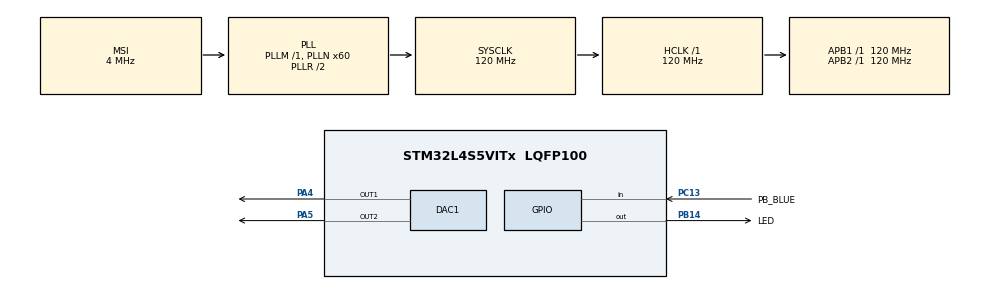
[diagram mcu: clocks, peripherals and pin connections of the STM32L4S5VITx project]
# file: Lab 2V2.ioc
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ADC1.Channel-0\#ChannelRegularConversion=ADC_CHANNEL_VREFINT
ADC1.Channel-1\#ChannelRegularConversion=ADC_CHANNEL_TEMPSENSOR
ADC1.DiscontinuousConvMode=ENABLE
ADC1.NbrOfConversion=2
ADC1.NbrOfConversionFlag=1
ADC1.OffsetNumber-0\#ChannelRegularConversion=ADC_OFFSET_NONE
ADC1.OffsetNumber-1\#ChannelRegularConversion=ADC_OFFSET_NONE
ADC1.Rank-0\#ChannelRegularConversion=1
ADC1.Rank-1\#ChannelRegularConversion=2
ADC1.SamplingTime-0\#ChannelRegularConversion=ADC_SAMPLETIME_2CYCLES_5
ADC1.SamplingTime-1\#ChannelRegularConversion=ADC_SAMPLETIME_2CYCLES_5
ADC1.master=1
DAC1.DAC_Channel-DAC_OUT2=DAC_CHANNEL_2
DAC1.DAC_SampleAndHold-DAC_OUT2=DAC_SAMPLEANDHOLD_DISABLE
Mcu.Family=STM32L4
Mcu.Name=STM32L4S5VITx
Mcu.Package=LQFP100
NVIC.PriorityGroup=NVIC_PRIORITYGROUP_4
PA4.Signal=COMP_DAC11_group
PA5.Signal=COMP_DAC12_group
PB14.GPIO_Label=LED
PB14.Signal=GPIO_Output
PB3\ (JTDO/TRACESWO).Signal=SYS_JTDO-SWO
PC13.GPIO_Label=PB_BLUE
PC13.Signal=GPIO_Input
ProjectManager.HeapSize=0x200
ProjectManager.StackSize=0x400
ProjectManager.TargetToolchain=STM32CubeIDE
RCC.ADCFreq_Value=32000000
RCC.AHBFreq_Value=120000000
RCC.APB1Freq_Value=120000000
RCC.APB1TimFreq_Value=120000000
RCC.APB2Freq_Value=120000000
RCC.APB2TimFreq_Value=120000000
RCC.CortexFreq_Value=120000000
RCC.HCLKFreq_Value=120000000
RCC.HSE_VALUE=8000000
RCC.HSI48_VALUE=48000000
RCC.HSI_VALUE=16000000
RCC.LSE_VALUE=32768
RCC.MSI_VALUE=4000000
RCC.PLLN=60
RCC.PLLSAI1N=16
RCC.SYSCLKFreq_VALUE=120000000
RCC.SYSCLKSource=RCC_SYSCLKSOURCE_PLLCLK
RCC.USBFreq_Value=32000000
RCC.VCOOutputFreq_Value=240000000
SH.COMP_DAC11_group.0=DAC1_OUT1,DAC_OUT1
SH.COMP_DAC12_group.0=DAC1_OUT2,DAC_OUT2
VP_ADC1_TempSens_Input.Mode=IN-TempSens
VP_ADC1_Vref_Input.Mode=IN-Vrefint
board=custom

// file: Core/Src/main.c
/* USER CODE BEGIN Header */
/**
  ******************************************************************************
  * @file           : main.c
  * @brief          : Main program body
  ******************************************************************************
  * @attention
  *
  * Copyright (c) 2023 STMicroelectronics.
  * All rights reserved.
  *
  * This software is licensed under terms that can be found in the LICENSE file
  * in the root directory of this software component.
  * If no LICENSE file comes with this software, it is provided AS-IS.
  *
  ******************************************************************************
  */
/* USER CODE END Header */
#include "main.h"

/* USER CODE BEGIN Includes */
#define ARM_MATH_CM4
#include "arm_math.h"
/* USER CODE END Includes */

/* USER CODE BEGIN PD */
#define pi 3.14
/* USER CODE END PD */

ADC_HandleTypeDef hadc1;

DAC_HandleTypeDef hdac1;

void SystemClock_Config(void);
static void MX_GPIO_Init(void);
static void MX_DAC1_Init(void);
static void MX_ADC1_Init(void);
/* USER CODE BEGIN PFP */
int16_t get_temp_c();
float32_t get_vref();
/* USER CODE END PFP */

/* USER CODE BEGIN 0 */
// setup ADC
ADC_ChannelConfTypeDef channel_config_vref = {
	  	  .Channel = ADC_CHANNEL_VREFINT,
		  .Rank = ADC_REGULAR_RANK_1,
		  .SamplingTime = ADC_SAMPLETIME_640CYCLES_5,
		  .SingleDiff = ADC_SINGLE_ENDED,
		  .OffsetNumber = ADC_OFFSET_NONE,
		  .Offset = 0
};

ADC_ChannelConfTypeDef channel_config_temp = {
	  	  .Channel = ADC_CHANNEL_TEMPSENSOR,
		  .Rank = ADC_REGULAR_RANK_1,
		  .SamplingTime = ADC_SAMPLETIME_640CYCLES_5,
		  .SingleDiff = ADC_SINGLE_ENDED,
		  .OffsetNumber = ADC_OFFSET_NONE,
		  .Offset = 0
};

// get TS_CAL1 and TS_CAL2 from memory addresses
const int *p_TS_CAL1 = (int *)0x1FFF75A8;
const int16_t TS_CAL1_TEMP = 30;
const int *p_TS_CAL2 = (int *)0x1FFF75CA;
const int16_t TS_CAL2_TEMP = 110;
// get vrefint
const int *p_VREFINT = (int *) 0x1FFF75AA;
/* USER CODE END 0 */

int main(void)
{

  /* MCU Configuration--------------------------------------------------------*/

  /* Reset of all peripherals, Initializes the Flash interface and the Systick. */
  HAL_Init();

  /* Configure the system clock */
  SystemClock_Config();

  /* Initialize all configured peripherals */
  MX_GPIO_Init();
  MX_DAC1_Init();
  MX_ADC1_Init();
  /* USER CODE BEGIN 2 */
  // init variables
  uint16_t waveForm = 0;
  uint16_t temp;
  int8_t iterator = 0;
  int8_t lightState = 0;
  int8_t waveSetting = 0;
  const int8_t TEMP_RANGE_MAX = 50;
  const int8_t TEMP_RANGE_MIN = 20;
  const int8_t DELAY_RANGE_MAX = 20;
  const int8_t DELAY_RANGE_MIN = 0;
  float32_t TEMP_TO_DELAY_SLOPE =(float)(DELAY_RANGE_MAX - DELAY_RANGE_MIN)/(TEMP_RANGE_MAX - TEMP_RANGE_MIN);
  float32_t TEMP_TO_DELAY_INTERCEPT = DELAY_RANGE_MIN - TEMP_TO_DELAY_SLOPE*TEMP_RANGE_MIN;
  int8_t delay = 0;
  // start DAC
  HAL_DAC_Start(&hdac1, DAC_CHANNEL_1);
  /* USER CODE END 2 */

  /* Infinite loop */
  /* USER CODE BEGIN WHILE */
  while (1)
  {
	  GPIO_PinState pinState = HAL_GPIO_ReadPin(PB_BLUE_GPIO_Port, PB_BLUE_Pin);
	           if (pinState == GPIO_PIN_RESET) {
	        	   if (lightState == 0) {
						HAL_GPIO_WritePin(LED_GPIO_Port, LED_Pin, GPIO_PIN_SET);
						//Switches to waves via temperature
						lightState=1;
	        	   } else {
		                HAL_GPIO_WritePin(LED_GPIO_Port, LED_Pin, GPIO_PIN_RESET);
		                //Resets to fixed waves and rotates to next type
		                lightState=0;
		                iterator=0;
		                waveSetting = (waveSetting+1)%3;
	        	   }
	        	   // loop to trap us here until PB is let go
	        	   while (1) {
	        		   pinState = HAL_GPIO_ReadPin(PB_BLUE_GPIO_Port, PB_BLUE_Pin);
	        		   if (pinState == GPIO_PIN_SET)
	        			   break;
	        	   }
	            }
               //Sawtooth
       	   	   if (waveSetting == 0){
                   waveForm = 16*iterator;
               }
               //Triangle
               else if (waveSetting == 1){
                    if (iterator<7){
                           waveForm = 32*iterator;
                    } else{
                           waveForm = 32*(14-iterator);
                    }
               }
               //Sine
               else if (waveSetting == 2){
                   waveForm = 128*arm_sin_f32((pi*iterator) / 7) + 128;
               }

       	   	   if (lightState == 1) {
       	   		   temp = get_temp_c();
	               delay = round(temp*TEMP_TO_DELAY_SLOPE + TEMP_TO_DELAY_INTERCEPT);
       	   	   } else {
       	   		   delay = DELAY_RANGE_MIN;
       	   	   }

	      iterator = (iterator+1)%14;
	      HAL_DAC_SetValue(&hdac1, DAC_CHANNEL_1, DAC_ALIGN_8B_R, waveForm);
	      HAL_Delay(delay);

  }
    /* USER CODE END WHILE */
}

void SystemClock_Config(void)
{
  RCC_OscInitTypeDef RCC_OscInitStruct = {0};
  RCC_ClkInitTypeDef RCC_ClkInitStruct = {0};

  /** Configure the main internal regulator output voltage
  */
  if (HAL_PWREx_ControlVoltageScaling(PWR_REGULATOR_VOLTAGE_SCALE1_BOOST) != HAL_OK)
  {
    Error_Handler();
  }

  /** Initializes the RCC Oscillators according to the specified parameters
  * in the RCC_OscInitTypeDef structure.
  */
  RCC_OscInitStruct.OscillatorType = RCC_OSCILLATORTYPE_MSI;
  RCC_OscInitStruct.MSIState = RCC_MSI_ON;
  RCC_OscInitStruct.MSICalibrationValue = 0;
  RCC_OscInitStruct.MSIClockRange = RCC_MSIRANGE_6;
  RCC_OscInitStruct.PLL.PLLState = RCC_PLL_ON;
  RCC_OscInitStruct.PLL.PLLSource = RCC_PLLSOURCE_MSI;
  RCC_OscInitStruct.PLL.PLLM = 1;
  RCC_OscInitStruct.PLL.PLLN = 60;
  RCC_OscInitStruct.PLL.PLLP = RCC_PLLP_DIV2;
  RCC_OscInitStruct.PLL.PLLQ = RCC_PLLQ_DIV2;
  RCC_OscInitStruct.PLL.PLLR = RCC_PLLR_DIV2;
  if (HAL_RCC_OscConfig(&RCC_OscInitStruct) != HAL_OK)
  {
    Error_Handler();
  }

  /** Initializes the CPU, AHB and APB buses clocks
  */
  RCC_ClkInitStruct.ClockType = RCC_CLOCKTYPE_HCLK|RCC_CLOCKTYPE_SYSCLK
                              |RCC_CLOCKTYPE_PCLK1|RCC_CLOCKTYPE_PCLK2;
  RCC_ClkInitStruct.SYSCLKSource = RCC_SYSCLKSOURCE_PLLCLK;
  RCC_ClkInitStruct.AHBCLKDivider = RCC_SYSCLK_DIV1;
  RCC_ClkInitStruct.APB1CLKDivider = RCC_HCLK_DIV1;
  RCC_ClkInitStruct.APB2CLKDivider = RCC_HCLK_DIV1;

  if (HAL_RCC_ClockConfig(&RCC_ClkInitStruct, FLASH_LATENCY_5) != HAL_OK)
  {
    Error_Handler();
  }
}

static void MX_ADC1_Init(void)
{

  ADC_ChannelConfTypeDef sConfig = {0};

  /** Common config
  */
  hadc1.Instance = ADC1;
  hadc1.Init.ClockPrescaler = ADC_CLOCK_ASYNC_DIV1;
  hadc1.Init.Resolution = ADC_RESOLUTION_12B;
  hadc1.Init.DataAlign = ADC_DATAALIGN_RIGHT;
  hadc1.Init.ScanConvMode = ADC_SCAN_ENABLE;
  hadc1.Init.EOCSelection = ADC_EOC_SINGLE_CONV;
  hadc1.Init.LowPowerAutoWait = DISABLE;
  hadc1.Init.ContinuousConvMode = DISABLE;
  hadc1.Init.NbrOfConversion = 2;
  hadc1.Init.DiscontinuousConvMode = ENABLE;
  hadc1.Init.NbrOfDiscConversion = 1;
  hadc1.Init.ExternalTrigConv = ADC_SOFTWARE_START;
  hadc1.Init.ExternalTrigConvEdge = ADC_EXTERNALTRIGCONVEDGE_NONE;
  hadc1.Init.DMAContinuousRequests = DISABLE;
  hadc1.Init.Overrun = ADC_OVR_DATA_PRESERVED;
  hadc1.Init.OversamplingMode = DISABLE;
  if (HAL_ADC_Init(&hadc1) != HAL_OK)
  {
    Error_Handler();
  }

  /** Configure Regular Channel
  */
  sConfig.Channel = ADC_CHANNEL_VREFINT;
  sConfig.Rank = ADC_REGULAR_RANK_1;
  sConfig.SamplingTime = ADC_SAMPLETIME_2CYCLES_5;
  sConfig.SingleDiff = ADC_SINGLE_ENDED;
  sConfig.OffsetNumber = ADC_OFFSET_NONE;
  sConfig.Offset = 0;
  if (HAL_ADC_ConfigChannel(&hadc1, &sConfig) != HAL_OK)
  {
    Error_Handler();
  }

  /** Configure Regular Channel
  */
  sConfig.Channel = ADC_CHANNEL_TEMPSENSOR;
  sConfig.Rank = ADC_REGULAR_RANK_2;
  if (HAL_ADC_ConfigChannel(&hadc1, &sConfig) != HAL_OK)
  {
    Error_Handler();
  }

}

static void MX_DAC1_Init(void)
{

  DAC_ChannelConfTypeDef sConfig = {0};

  /** DAC Initialization
  */
  hdac1.Instance = DAC1;
  if (HAL_DAC_Init(&hdac1) != HAL_OK)
  {
    Error_Handler();
  }

  /** DAC channel OUT1 config
  */
  sConfig.DAC_SampleAndHold = DAC_SAMPLEANDHOLD_DISABLE;
  sConfig.DAC_Trigger = DAC_TRIGGER_NONE;
  sConfig.DAC_HighFrequency = DAC_HIGH_FREQUENCY_INTERFACE_MODE_ABOVE_80MHZ;
  sConfig.DAC_OutputBuffer = DAC_OUTPUTBUFFER_ENABLE;
  sConfig.DAC_ConnectOnChipPeripheral = DAC_CHIPCONNECT_DISABLE;
  sConfig.DAC_UserTrimming = DAC_TRIMMING_FACTORY;
  if (HAL_DAC_ConfigChannel(&hdac1, &sConfig, DAC_CHANNEL_1) != HAL_OK)
  {
    Error_Handler();
  }

  /** DAC channel OUT2 config
  */
  if (HAL_DAC_ConfigChannel(&hdac1, &sConfig, DAC_CHANNEL_2) != HAL_OK)
  {
    Error_Handler();
  }

}

static void MX_GPIO_Init(void)
{
  GPIO_InitTypeDef GPIO_InitStruct = {0};

  /* GPIO Ports Clock Enable */
  __HAL_RCC_GPIOC_CLK_ENABLE();
  __HAL_RCC_GPIOA_CLK_ENABLE();
  __HAL_RCC_GPIOB_CLK_ENABLE();

  /*Configure GPIO pin Output Level */
  HAL_GPIO_WritePin(LED_GPIO_Port, LED_Pin, GPIO_PIN_RESET);

  /*Configure GPIO pin : PB_BLUE_Pin */
  GPIO_InitStruct.Pin = PB_BLUE_Pin;
  GPIO_InitStruct.Mode = GPIO_MODE_INPUT;
  GPIO_InitStruct.Pull = GPIO_NOPULL;
  HAL_GPIO_Init(PB_BLUE_GPIO_Port, &GPIO_InitStruct);

  /*Configure GPIO pin : LED_Pin */
  GPIO_InitStruct.Pin = LED_Pin;
  GPIO_InitStruct.Mode = GPIO_MODE_OUTPUT_PP;
  GPIO_InitStruct.Pull = GPIO_NOPULL;
  GPIO_InitStruct.Speed = GPIO_SPEED_FREQ_LOW;
  HAL_GPIO_Init(LED_GPIO_Port, &GPIO_InitStruct);

}

/* USER CODE BEGIN 4 */
// Function that returns the temperature reading in celcius
int16_t get_temp_c() {
	const int16_t TS_CAL1 = *p_TS_CAL1;
	const int16_t TS_CAL2 = *p_TS_CAL2;
	// config ADC
	  if (HAL_ADC_ConfigChannel (&hadc1, &channel_config_temp) != HAL_OK){
	        return -1;
	    }

	  // get temperature
	  HAL_ADC_Start(&hadc1);
	  HAL_ADC_PollForConversion(&hadc1, 1000); // number = timeout in ms
	  int16_t TS_DATA = HAL_ADC_GetValue(&hadc1);
	  HAL_ADC_Stop(&hadc1);
	  float32_t vref = get_vref();
	  TS_DATA = round(TS_DATA*vref/3.0);

	  return (TS_CAL2_TEMP - TS_CAL1_TEMP)*(TS_DATA-TS_CAL1)/(TS_CAL2 - TS_CAL1) + 30;
}

// function that returns the VREF
float32_t get_vref() {
	const int16_t VREFINT = *p_VREFINT;
	const int16_t VREFCHAR = 3; // device speficiations
	  if (HAL_ADC_ConfigChannel (&hadc1, &channel_config_vref) != HAL_OK){
	        return -1;
	    }
	  HAL_ADC_Start(&hadc1);
	  HAL_ADC_PollForConversion(&hadc1, 1000); // number = timeout in ms
	  int16_t VREFINT_DATA = HAL_ADC_GetValue(&hadc1);
	  HAL_ADC_Stop(&hadc1);
	  return VREFCHAR*((float32_t) VREFINT)/VREFINT_DATA;
}

/* USER CODE END 4 */

void Error_Handler(void)
{
  __disable_irq();
  while (1)
  {
  }
}
